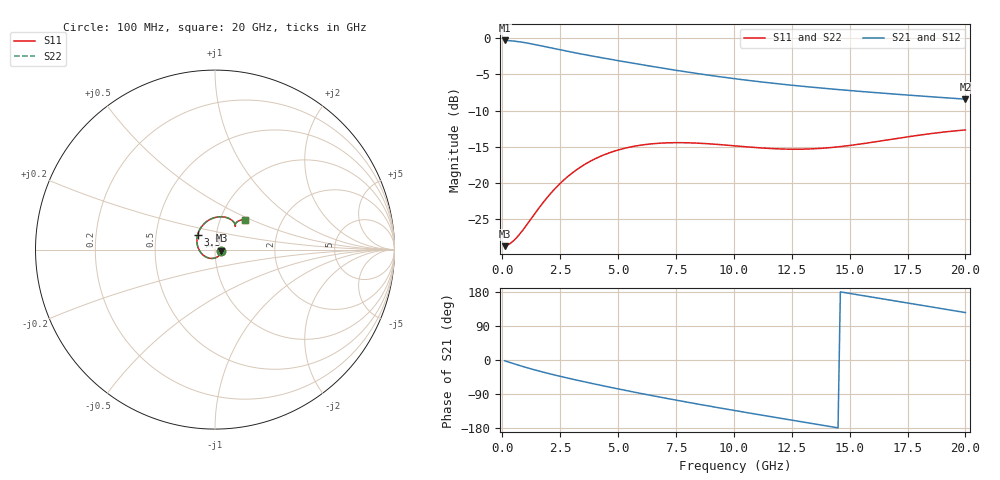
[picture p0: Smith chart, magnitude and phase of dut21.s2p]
! Created with skrf 1.9.0 (http://scikit-rf.org).
# GHz S RI R 50.0
!freq ReS11 ImS11 ReS21 ImS21 ReS12 ImS12 ReS22 ImS22
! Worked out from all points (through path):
!   200 points, 100 MHz to 20 GHz, reference 50 ohm
!   highest |S21| = -0.33 dB at 100 MHz (marker M1); lowest = -8.4 dB at 20 GHz (marker M2)
!   group delay of S21, straight-line fit = 31 ps
!   lowest |S11| = -28.7 dB at 100 MHz (marker M3), VSWR 1.08, Z = 53.7 - j0.717 ohm
!   |S11| at or under -10 dB: start of sweep to end of sweep
!   |S22| runs from -28.7 to -12.7 dB; largest |S21 - S12| = 2.2e-15
!   S11 on the Smith chart (normalised r, x): 100 MHz: 1.07, -0.01; 3.3 GHz: 0.81, +0.13; 20 GHz: 1.31, +0.45
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0.1  0.0361 -0.00667  0.9623 -0.034  0.9623 -0.034  0.0361 -0.00667
0.3  0.0318 -0.0207  0.9544 -0.0998  0.9544 -0.0998  0.0318 -0.0207
0.6  0.0176 -0.0378  0.9294 -0.1939  0.9294 -0.1939  0.0176 -0.0378
1.1  -0.0187 -0.0493  0.8613 -0.3301  0.8613 -0.3301  -0.0187 -0.0493
1.6  -0.0567 -0.0374  0.7745 -0.437  0.7745 -0.437  -0.0567 -0.0374
2  -0.0803 -0.0152  0.6998 -0.5033  0.6998 -0.5033  -0.0803 -0.0152
2.4  -0.095 0.0133  0.6242 -0.5558  0.6242 -0.5558  -0.095 0.0133
3.3  -0.097 0.0813  0.4571 -0.6353  0.4571 -0.6353  -0.097 0.0813
3.5  -0.0926 0.095  0.421 -0.6469  0.421 -0.6469  -0.0926 0.095
4.2  -0.0685 0.1357  0.298 -0.6732  0.298 -0.6732  -0.0685 0.1357
5  -0.0315 0.1661  0.166 -0.6789  0.166 -0.6789  -0.0315 0.1661
5.9  0.0116 0.1814  0.0316 -0.6595  0.0316 -0.6595  0.0116 0.1814
6.8  0.0492 0.1819  -0.0854 -0.619  -0.0854 -0.619  0.0492 0.1819
7.6  0.075 0.1746  -0.174 -0.5702  -0.174 -0.5702  0.075 0.1746
8.4  0.0934 0.1639  -0.2484 -0.5131  -0.2484 -0.5131  0.0934 0.1639
10.1  0.1118 0.1415  -0.3635 -0.3762  -0.3635 -0.3762  0.1118 0.1415
11.7  0.1134 0.1304  -0.4251 -0.2395  -0.4251 -0.2395  0.1134 0.1304
13.4  0.111 0.1318  -0.4479 -0.0955  -0.4479 -0.0955  0.111 0.1318
15  0.1133 0.1421  -0.4336 0.0319  -0.4336 0.0319  0.1133 0.1421
16.7  0.1245 0.1554  -0.3849 0.1514  -0.3849 0.1514  0.1245 0.1554
18.4  0.144 0.164  -0.3082 0.2471  -0.3082 0.2471  0.144 0.164
20  0.1654 0.1634  -0.218 0.3104  -0.218 0.3104  0.1654 0.1634
